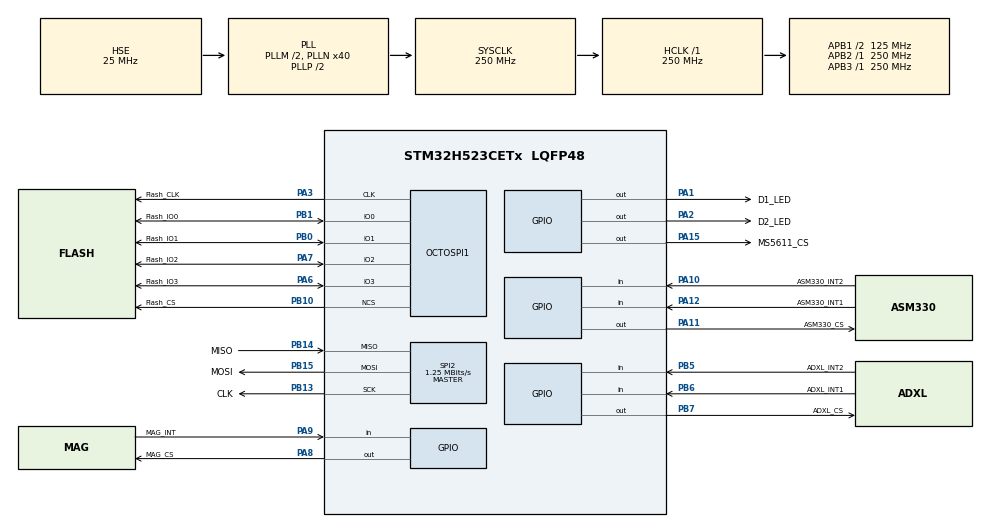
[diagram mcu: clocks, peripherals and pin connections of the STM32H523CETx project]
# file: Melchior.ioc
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BOOTPATH.BootPathName=LEGACY
BOOTPATH.UserSelectedBootPath=LEGACY
CORTEX_M33_NS.userName=CORTEX_M33
Mcu.Family=STM32H5
Mcu.Name=STM32H523CETx
Mcu.Package=LQFP48
NVIC.PriorityGroup=NVIC_PRIORITYGROUP_4
NVIC.TIM2_IRQn=true\:0\:0\:false\:false\:true\:true\:true\:true
OCTOSPI1.ChipSelectHighTimeCycle=8
OCTOSPI1.ClockPrescaler=16
OCTOSPI1.MemorySize=HAL_XSPI_SIZE_128MB
OCTOSPI1.SampleShifting=HAL_XSPI_SAMPLE_SHIFT_NONE
PA0.Signal=ADCx_INN1
PA1.GPIO_Label=D1_LED
PA1.Signal=GPIO_Output
PA10.GPIO_Label=ASM330_INT2
PA10.Signal=GPIO_Input
PA11.GPIO_Label=ASM330_CS
PA11.PinState=GPIO_PIN_SET
PA11.Signal=GPIO_Output
PA12.GPIO_Label=ASM330_INT1
PA12.Signal=GPIO_Input
PA13(JTMS/SWDIO).Mode=Trace_Asynchronous_SW
PA13(JTMS/SWDIO).Signal=DEBUG_JTMS-SWDIO
PA14(JTCK/SWCLK).Mode=Trace_Asynchronous_SW
PA14(JTCK/SWCLK).Signal=DEBUG_JTCK-SWCLK
PA15(JTDI).GPIO_Label=MS5611_CS
PA15(JTDI).PinState=GPIO_PIN_SET
PA15(JTDI).Signal=GPIO_Output
PA2.GPIO_Label=D2_LED
PA2.Signal=GPIO_Output
PA3.GPIO_Label=Flash_CLK
PA3.Mode=quad_mode
PA3.Signal=OCTOSPI1_CLK
PA6.GPIO_Label=Flash_IO3
PA6.Mode=OCTOSPI1_IO[3\:0]
PA6.Signal=OCTOSPI1_IO3
PA7.GPIO_Label=Flash_IO2
PA7.Mode=OCTOSPI1_IO[3\:0]
PA7.Signal=OCTOSPI1_IO2
PA8.GPIO_Label=MAG_CS
PA8.PinState=GPIO_PIN_SET
PA8.Signal=GPIO_Output
PA9.GPIO_Label=MAG_INT
PA9.Signal=GPIO_Input
PB0.GPIO_Label=Flash_IO1
PB0.Mode=OCTOSPI1_IO[3\:0]
PB0.Signal=OCTOSPI1_IO1
PB1.GPIO_Label=Flash_IO0
PB1.Mode=OCTOSPI1_IO[3\:0]
PB1.Signal=OCTOSPI1_IO0
PB10.GPIO_Label=Flash_CS
PB10.Mode=quad_mode
PB10.Signal=OCTOSPI1_NCS
PB13.GPIO_Label=CLK
PB13.Mode=Full_Duplex_Master
PB13.Signal=SPI2_SCK
PB14.GPIO_Label=MISO
PB14.Mode=Full_Duplex_Master
PB14.Signal=SPI2_MISO
PB15.GPIO_Label=MOSI
PB15.Mode=Full_Duplex_Master
PB15.Signal=SPI2_MOSI
PB3(JTDO/TRACESWO).Mode=Trace_Asynchronous_SW
PB3(JTDO/TRACESWO).Signal=DEBUG_JTDO-SWO
PB5.GPIO_Label=ADXL_INT2
PB5.Signal=GPIO_Input
PB6.GPIO_Label=ADXL_INT1
PB6.Signal=GPIO_Input
PB7.GPIO_Label=ADXL_CS
PB7.PinState=GPIO_PIN_SET
PB7.Signal=GPIO_Output
PC14-OSC32_IN(OSC32_IN).Mode=LSE-External-Oscillator
PC14-OSC32_IN(OSC32_IN).Signal=RCC_OSC32_IN
PC15-OSC32_OUT(OSC32_OUT).Mode=LSE-External-Oscillator
PC15-OSC32_OUT(OSC32_OUT).Signal=RCC_OSC32_OUT
PH0-OSC_IN(PH0).Mode=HSE-External-Oscillator
PH0-OSC_IN(PH0).Signal=RCC_OSC_IN
PH1-OSC_OUT(PH1).Mode=HSE-External-Oscillator
PH1-OSC_OUT(PH1).Signal=RCC_OSC_OUT
ProjectManager.HeapSize=0x200
ProjectManager.StackSize=0x400
ProjectManager.TargetToolchain=STM32CubeIDE
RCC.ADCFreq_Value=250000000
RCC.AHBFreq_Value=250000000
RCC.APB1CLKDivider=RCC_HCLK_DIV2
RCC.APB1Freq_Value=125000000
RCC.APB1TimFreq_Value=250000000
RCC.APB2Freq_Value=250000000
RCC.APB2TimFreq_Value=250000000
RCC.APB3Freq_Value=250000000
RCC.CSI_VALUE=4000000
RCC.CortexFreq_Value=250000000
RCC.EPOD_VALUE=25000000
RCC.HCLKFreq_Value=250000000
RCC.HSE_VALUE=25000000
RCC.HSI48_VALUE=48000000
RCC.HSI_VALUE=64000000
RCC.LSIRC_VALUE=32000
RCC.OCTOSPIMCLockSelection=RCC_OSPICLKSOURCE_PLL2R
RCC.PLL1Q=100
RCC.PLL2FRACN=0
RCC.PLL2R=8
RCC.PLL3FRACN=0
RCC.PLLFRACN=0
RCC.PLLM=2
RCC.PLLN=40
RCC.PLLSourceVirtual=RCC_PLL1_SOURCE_HSE
RCC.RTCClockSelection=RCC_RTCCLKSOURCE_LSE
RCC.SYSCLKFreq_VALUE=250000000
RCC.SYSCLKSource=RCC_SYSCLKSOURCE_PLLCLK
RCC.USBFreq_Value=48000000
RCC.VCOOutputFreq_Value=500000000
SH.ADCx_INN1.0=ADC1_INN1
SPI2.BaudRatePrescaler=SPI_BAUDRATEPRESCALER_4
SPI2.CLKPhase=SPI_PHASE_2EDGE
SPI2.CLKPolarity=SPI_POLARITY_HIGH
SPI2.CalculateBaudRate=1.25 MBits/s
SPI2.DataSize=SPI_DATASIZE_8BIT
SPI2.Direction=SPI_DIRECTION_2LINES
SPI2.Mode=SPI_MODE_MASTER
SPI2.VirtualType=VM_MASTER
TIM2.PeriodNoDither=4999
TIM2.Prescaler=24999
VP_BOOTPATH_VS_BOOTPATH.Mode=BP_Activate
VP_CORTEX_M33_NS_VS_Hclk.Mode=Hclk_Mode
VP_ICACHE_VS_ICACHE.Mode=DefaultMode
VP_MEMORYMAP_VS_MEMORYMAP.Mode=CurAppReg
VP_PWR_VS_LPOM.Mode=PowerOptimisation
VP_PWR_VS_SECSignals.Mode=Security/Privilege
VP_RTC_VS_RTC_Activate.Mode=RTC_Enabled
VP_RTC_VS_RTC_Calendar.Mode=RTC_Calendar
VP_TIM2_VS_ClockSourceINT.Mode=Internal
board=custom

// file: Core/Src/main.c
/* USER CODE BEGIN Header */
/**
  ******************************************************************************
  * @file           : main.c
  * @brief          : Main program body
  ******************************************************************************
  * @attention
  *
  * Copyright (c) 2026 STMicroelectronics.
  * All rights reserved.
  *
  * This software is licensed under terms that can be found in the LICENSE file
  * in the root directory of this software component.
  * If no LICENSE file comes with this software, it is provided AS-IS.
  *
  ******************************************************************************
  */
/* USER CODE END Header */
#include "main.h"

/* USER CODE BEGIN Includes */
#include <stdio.h>
#include <math.h>
#include "asm330lhhx.h"
#include "ms5611.h"
/* USER CODE END Includes */

/* USER CODE BEGIN PD */

/* Temporary mode selector: 0 = normal, 1 = flash capture, 2 = MMC5983 capture. */
static const unsigned int MODE = 0U;

#define ALPHA 0.05f /* Accelerometer correction weight per update. */
#define LOOP_PERIOD_MS 20U
#define BARO_PERIOD_MS 100U
#define MAX_ATTITUDE_DT_S 0.25f
#define TWO_PI_RAD 6.28318530718f
#define RAD_TO_DEG 57.2957795131f
#define MDPS_TO_RPS 0.0000174532925199f

/* USER CODE END PD */

XSPI_HandleTypeDef hxspi1;

RTC_HandleTypeDef hrtc;

SPI_HandleTypeDef hspi2;

TIM_HandleTypeDef htim2;

/* USER CODE BEGIN PV */
static ASM330LHHX_t asm330;
static const ASM330LHHX_Config_t asm330_config = {
		.accel_odr = ASM330LHHX_ODR_104,
		.accel_fs = ASM330LHHX_XL_FS_2G,
		.gyro_odr = ASM330LHHX_ODR_104,
		.gyro_fs = ASM330LHHX_G_FS_1000DPS,
		.spi_timeout_ms = 100U
};

static uint8_t asm330_ready = 0U;
static MS5611_t ms5611;
/* User-selectable settings; Init copies each configuration. */
static const MS5611_Config_t ms5611_config = {
    .pressure_osr = MS5611_OSR_4096,
    .temperature_osr = MS5611_OSR_4096,
    .spi_timeout_ms = 100U,
    .second_order_compensation = true
};

static uint32_t past_tick = 0U; /* Last IMU attempt; rate-limits failed reads too. */
static uint32_t attitude_tick = 0U; /* Last valid attitude sample. */
static bool attitude_initialized = false;
static float thetaHat_rad = 0.0f;
static float phiHat_rad = 0.0f;

/* USER CODE END PV */

void SystemClock_Config(void);
static void MX_GPIO_Init(void);
static void MX_OCTOSPI1_Init(void);
static void MX_SPI2_Init(void);
static void MX_RTC_Init(void);
static void MX_ICACHE_Init(void);
static void MX_TIM2_Init(void);

/* USER CODE BEGIN 0 */
int _write(int file, char *ptr, int len)
{
    (void)file;
    for (int i = 0; i < len; ++i) {
        ITM_SendChar(*ptr++);
    }
    return len;
}

/* Fixed-point printing retains two decimal places, including -0.xx,
   without enabling floating-point printf in newlib-nano. */
static void print_hundredths(int32_t value)
{
    unsigned long magnitude = (unsigned long)(value < 0 ? -(int64_t)value : value);
    printf("%s%lu.%02lu", value < 0 ? "-" : "", magnitude / 100UL, magnitude % 100UL);
}

/* Removable scope test: ONLY 9F + three response bytes, once per 500 ms.
   OCTOSPI controls CS. No reset, erase, writes, or sensor transactions. */
static void flash_id_capture_loop(void)
{
    XSPI_RegularCmdTypeDef cmd = {0};
    cmd.OperationType = HAL_XSPI_OPTYPE_COMMON_CFG;
    cmd.IOSelect = HAL_XSPI_SELECT_IO_3_0;
    cmd.Instruction = 0x9FU;
    cmd.InstructionMode = HAL_XSPI_INSTRUCTION_1_LINE;
    cmd.InstructionWidth = HAL_XSPI_INSTRUCTION_8_BITS;
    cmd.AddressMode = HAL_XSPI_ADDRESS_NONE;
    cmd.AlternateBytesMode = HAL_XSPI_ALT_BYTES_NONE;
    cmd.DataMode = HAL_XSPI_DATA_1_LINE;
    cmd.DataLength = 3U; // 32 clocks total: 8 command + 24 response.

    printf("Flash capture: repeating 9F every 500 ms; trigger on PB10/CS falling\r\n");
    for (;;) {
        HAL_Delay(500U);
        uint8_t id[3] = {0};
        HAL_StatusTypeDef status = HAL_XSPI_Command(&hxspi1, &cmd, 100U);
        if (status == HAL_OK) {
            status = HAL_XSPI_Receive(&hxspi1, id, 100U);
        }
        printf("Flash capture ID=%02X %02X %02X (expected EF 40 18), HAL=%u\r\n",
               (unsigned int)id[0], (unsigned int)id[1], (unsigned int)id[2],
               (unsigned int)status);
    }
}

/* Startup-only communication check: no program/erase or status writes.
   Recovery reset can interrupt an existing program/erase: do not call while
   logging to flash. This does not test storage integrity or quad IO. */
static bool flash_check(void)
{
    XSPI_RegularCmdTypeDef cmd = {0};
    uint8_t id[3] = {0}, alternate_id[2] = {0}, sr1 = 0U;
    bool jedec_ok = false;
    const char *step = "initial JEDEC ID";
    const char *phases[] = { "initial", "after wake", "after reset" };

    cmd.OperationType = HAL_XSPI_OPTYPE_COMMON_CFG;
    cmd.IOSelect = HAL_XSPI_SELECT_IO_3_0;
    cmd.InstructionMode = HAL_XSPI_INSTRUCTION_1_LINE;
    cmd.InstructionWidth = HAL_XSPI_INSTRUCTION_8_BITS;
    cmd.AddressMode = HAL_XSPI_ADDRESS_NONE;
    cmd.AlternateBytesMode = HAL_XSPI_ALT_BYTES_NONE;
    /* Zero initialization selects SDR, no dummy cycles, and no DQS. */

    for (unsigned int attempt = 0U; attempt < 3U; ++attempt) {
        if (attempt != 0U) {
            cmd.DataMode = HAL_XSPI_DATA_NONE; // Command only; CS released by HAL.
            cmd.DataLength = 1U; // Ignored when DataMode is NONE.
            if (attempt == 1U) {
                step = "release power-down (AB)";
                cmd.Instruction = 0xABU;
                if (HAL_XSPI_Command(&hxspi1, &cmd, 100U) != HAL_OK) goto transfer_failed;
                HAL_Delay(1U);
            } else {
                step = "enable reset (66)";
                cmd.Instruction = 0x66U;
                if (HAL_XSPI_Command(&hxspi1, &cmd, 100U) != HAL_OK) goto transfer_failed;
                HAL_Delay(1U); // Separate transactions, with CS high between them.
                step = "reset device (99)";
                cmd.Instruction = 0x99U;
                if (HAL_XSPI_Command(&hxspi1, &cmd, 100U) != HAL_OK) goto transfer_failed;
                HAL_Delay(1U);
            }
            printf("Flash recovery: %s sent\r\n", attempt == 1U ? "AB" : "66, 99");
        }

        step = phases[attempt];
        cmd.Instruction = 0x9FU;
        cmd.DataMode = HAL_XSPI_DATA_1_LINE;
        cmd.DataLength = sizeof(id);
        if (HAL_XSPI_Command(&hxspi1, &cmd, 100U) != HAL_OK ||
            HAL_XSPI_Receive(&hxspi1, id, 100U) != HAL_OK) goto transfer_failed;
        jedec_ok = id[0] == 0xEFU && id[1] == 0x40U && id[2] == 0x18U;
        printf("Flash JEDEC ID (%s): %02X %02X %02X (expected EF 40 18)\r\n",
               phases[attempt], (unsigned int)id[0], (unsigned int)id[1], (unsigned int)id[2]);
        if (jedec_ok) break; // Do not wake/reset a device already responding correctly.
    }

    step = "alternate ID (90)";
    cmd.Instruction = 0x90U;
    cmd.AddressMode = HAL_XSPI_ADDRESS_1_LINE;
    cmd.AddressWidth = HAL_XSPI_ADDRESS_24_BITS;
    cmd.Address = 0U;
    cmd.DataLength = sizeof(alternate_id);
    if (HAL_XSPI_Command(&hxspi1, &cmd, 100U) != HAL_OK ||
        HAL_XSPI_Receive(&hxspi1, alternate_id, 100U) != HAL_OK) goto transfer_failed;
    printf("Flash alternate ID: %02X %02X (expected EF 17)\r\n",
           (unsigned int)alternate_id[0], (unsigned int)alternate_id[1]);

    step = "status register (05)";
    cmd.Instruction = 0x05U;
    cmd.AddressMode = HAL_XSPI_ADDRESS_NONE;
    cmd.DataLength = 1U;
    if (HAL_XSPI_Command(&hxspi1, &cmd, 100U) != HAL_OK ||
        HAL_XSPI_Receive(&hxspi1, &sr1, 100U) != HAL_OK) goto transfer_failed;
    bool ok = jedec_ok && alternate_id[0] == 0xEFU && alternate_id[1] == 0x17U && !(sr1 & 1U);
    printf("Flash SR1=%02X BUSY=%u; communication check %s\r\n",
           (unsigned int)sr1, (unsigned int)(sr1 & 1U), ok ? "PASS" : "FAIL");
    return ok;

transfer_failed:
    printf("Flash check FAIL: transfer failed at %s, HAL error=0x%08lX\r\n",
           step, (unsigned long)HAL_XSPI_GetError(&hxspi1));
    return false;
}

/* Temporary MMC5983 connection probe: remove this function and its call later.
   Uses existing SPI2 settings (mode 0); datasheet timing describes mode 3.
   No reset, configuration writes, or measurement commands are issued. */
static bool mmc5983_check(void)
{
    uint8_t tx[2] = { 0xAFU, 0x00U }; // Read bit | product-ID register 0x2F.
    uint8_t rx[2] = { 0U, 0U };

    HAL_GPIO_WritePin(ADXL_CS_GPIO_Port, ADXL_CS_Pin, GPIO_PIN_SET);
    HAL_GPIO_WritePin(ASM330_CS_GPIO_Port, ASM330_CS_Pin, GPIO_PIN_SET);
    HAL_GPIO_WritePin(MS5611_CS_GPIO_Port, MS5611_CS_Pin, GPIO_PIN_SET);
    HAL_GPIO_WritePin(MAG_CS_GPIO_Port, MAG_CS_Pin, GPIO_PIN_RESET);
    HAL_StatusTypeDef status = HAL_SPI_TransmitReceive(&hspi2, tx, rx, 2U, 100U);
    HAL_GPIO_WritePin(MAG_CS_GPIO_Port, MAG_CS_Pin, GPIO_PIN_SET);

    bool ok = status == HAL_OK && rx[1] == 0x30U;
    printf("MMC5983 ID=%02X (expected 30), RX=%02X %02X, HAL=%u: %s\r\n",
           (unsigned int)rx[1], (unsigned int)rx[0], (unsigned int)rx[1],
           (unsigned int)status, ok ? "PASS" : "FAIL");
    return ok;
}

/* Removable scope test: ONLY product-ID reads, once per 500 ms.
   Uses the existing SPI2 settings; all other shared-bus CS pins stay high. */
static void mmc5983_id_capture_loop(void)
{
    printf("MMC5983 capture: repeating AF 00 every 500 ms; trigger on MAG_CS falling\r\n");
    for (;;) {
        HAL_Delay(500U);
        (void)mmc5983_check();
    }
}

/* USER CODE END 0 */

int main(void)
{

  /* MCU Configuration--------------------------------------------------------*/

  /* Reset of all peripherals, Initializes the Flash interface and the Systick. */
  HAL_Init();

  /* Configure the system clock */
  SystemClock_Config();

  /* Initialize all configured peripherals */
  MX_GPIO_Init();
  MX_OCTOSPI1_Init();
  MX_SPI2_Init();
  MX_RTC_Init();
  MX_ICACHE_Init();
  MX_TIM2_Init();
  /* USER CODE BEGIN 2 */

  /* Keep all other devices off the shared SPI bus. */
  HAL_GPIO_WritePin(ADXL_CS_GPIO_Port, ADXL_CS_Pin, GPIO_PIN_SET);
  HAL_GPIO_WritePin(MS5611_CS_GPIO_Port, MS5611_CS_Pin, GPIO_PIN_SET);
  HAL_GPIO_WritePin(MAG_CS_GPIO_Port, MAG_CS_Pin, GPIO_PIN_SET);
  ASM330LHHX_AssignSPI(&asm330, &hspi2, ASM330_CS_GPIO_Port, ASM330_CS_Pin);
  HAL_Delay(20U); // Allow sensor power-on reset to complete.
  setvbuf(stdout, NULL, _IONBF, 0); // Send printf output directly to ITM port 0.
  if (MODE == 1U) {
    flash_id_capture_loop(); // Does not return: isolates flash ID traffic.
  } else if (MODE == 2U) {
    mmc5983_id_capture_loop(); // Does not return: isolates MMC5983 ID traffic.
  }
  (void)flash_check();
  (void)mmc5983_check(); // Temporary connection probe.

  uint8_t asm_id = 0U;
  HAL_StatusTypeDef asm_status = ASM330LHHX_ReadDeviceID(&asm330, &asm_id);
  if ((asm_status == HAL_OK) && (asm_id == ASM330LHHX_WHO_AM_I_VALUE)) {
    HAL_StatusTypeDef asm_init_status = ASM330LHHX_Init(&asm330, &asm330_config);
    if (asm_init_status == HAL_OK) {
      asm330_ready = 1U;
      printf("ASM330LHHX initialized\r\n");
    } else {
      printf("ASM330LHHX initialization failed, HAL status: %u\r\n",
             (unsigned int)asm_status);
    }
  } else {
    printf("ASM330LHHX not detected; check wiring and SPI configuration.\r\n");
  }

  MS5611_AssignSPI(&ms5611, &hspi2, MS5611_CS_GPIO_Port, MS5611_CS_Pin);
  MS5611_Status_t ms_status = MS5611_Init(&ms5611, &ms5611_config);
  if (ms_status == MS5611_OK) {
    printf("MS5611 initialized\r\n");
  } else {
    printf("MS5611 init failed: status=%u, HAL=%u (check PS low, CS and wiring)\r\n",
           (unsigned int)ms_status, (unsigned int)ms5611.last_hal_status);
  }

  printf("time_ms,roll_deg,pitch_deg\r\n");

  /* USER CODE END 2 */

  /* Infinite loop */
  /* USER CODE BEGIN WHILE */
  while (1)
  {

    if (asm330_ready && ((HAL_GetTick() - past_tick) >= LOOP_PERIOD_MS)) {
      past_tick = HAL_GetTick();
      ASM330LHHX_FloatData_t accel, gyro;
      HAL_StatusTypeDef accel_status = ASM330LHHX_ReadAccelMg(&asm330, &accel);
      HAL_StatusTypeDef gyro_status = ASM330LHHX_ReadGyroMdps(&asm330, &gyro);
      if (accel_status == HAL_OK && gyro_status == HAL_OK) {
        /* Application axis remap: X <- sensor Y, Y <- sensor X; Z unchanged.
           This literal swap is a reflection, not a right-handed mounting rotation. */
        // float sensor_accel_x = accel.x;
        // accel.x = accel.y;
        // accel.y = sensor_accel_x;
        // float sensor_gyro_x = gyro.x;
        // gyro.x = gyro.y;
        // gyro.y = sensor_gyro_x;

        uint32_t now = HAL_GetTick();
        float dt = (now - attitude_tick) * 0.001f;
        float accel_norm_sq = accel.x * accel.x + accel.y * accel.y + accel.z * accel.z;

        /* Convention: level = +Z gravity reading; roll about X, pitch about Y.
           Remap BOTH accel and gyro together if the mounting differs.
           Ratios use mg directly; reject zero/non-finite samples. */
        if (isfinite(accel_norm_sq) && accel_norm_sq > 1.0f &&
            isfinite(gyro.x) && isfinite(gyro.y) && isfinite(gyro.z)) {
          float phiHat_acc_rad = atan2f(accel.y, accel.z);
          float thetaHat_acc_rad =
              atan2f(-accel.x, sqrtf(accel.y * accel.y + accel.z * accel.z));

          if (!attitude_initialized || dt > MAX_ATTITUDE_DT_S ||
              fabsf(cosf(thetaHat_rad)) < 0.05f) {
            /* Seed at startup/after a long gap. Near pitch +/-90 degrees,
               fall back to accelerometer tilt rather than singular gyro rates.
               This is not a valid full-attitude solution near the singularity. */
            phiHat_rad = phiHat_acc_rad;
            thetaHat_rad = thetaHat_acc_rad;
            attitude_initialized = true;
          } else {
            float p_rps = gyro.x * MDPS_TO_RPS;
            float q_rps = gyro.y * MDPS_TO_RPS;
            float r_rps = gyro.z * MDPS_TO_RPS;
            float sin_phi = sinf(phiHat_rad);
            float cos_phi = cosf(phiHat_rad);

            /* Both derivatives use the previous estimate. */
            float phi_dot = p_rps + tanf(thetaHat_rad) *
                (q_rps * sin_phi + r_rps * cos_phi);
            float theta_dot = q_rps * cos_phi - r_rps * sin_phi;
            float phi_pred = phiHat_rad + phi_dot * dt;
            float theta_pred = thetaHat_rad + theta_dot * dt;

            /* Shortest angular correction avoids averaging +pi and -pi to 0. */
            phiHat_rad = remainderf(phi_pred + ALPHA *
                remainderf(phiHat_acc_rad - phi_pred, TWO_PI_RAD), TWO_PI_RAD);
            thetaHat_rad = (1.0f - ALPHA) * theta_pred + ALPHA * thetaHat_acc_rad;
          }
          attitude_tick = now;

          /* CSV via the existing printf -> ITM/SWV output, without float printf. */
          printf("%lu,", (unsigned long)now);
          print_hundredths((int32_t)lroundf(phiHat_rad * RAD_TO_DEG * 100.0f));
          printf(",");
          print_hundredths((int32_t)lroundf(thetaHat_rad * RAD_TO_DEG * 100.0f));
          printf("\r\n");
        }
      } else {
        printf("IMU Read Fail: Accel HAL=%u, Gyro HAL=%u\r\n", (unsigned int)accel_status, (unsigned int)gyro_status);
      }
    }
    /*
    if (ms5611.initialized && ((HAL_GetTick() - baro_tick) >= BARO_PERIOD_MS)) {
      baro_tick = HAL_GetTick();
      MS5611_Data_t data;
      MS5611_Status_t status = MS5611_Read(&ms5611, &data);
      if (status == MS5611_OK) {
        printf("MS5611 pressure: ");
        print_hundredths(data.pressure_centi_mbar);
        printf(" mbar, temperature: ");
        print_hundredths(data.temperature_centi_c);
        printf(" C\r\n");
      } else {
        printf("MS5611 read failed: status=%u HAL=%u\r\n",
               (unsigned int)status, (unsigned int)ms5611.last_hal_status);
      }
    }
    */

    /* USER CODE END WHILE */

  }
}

void SystemClock_Config(void)
{
  RCC_OscInitTypeDef RCC_OscInitStruct = {0};
  RCC_ClkInitTypeDef RCC_ClkInitStruct = {0};

  /** Configure the main internal regulator output voltage
  */
  __HAL_PWR_VOLTAGESCALING_CONFIG(PWR_REGULATOR_VOLTAGE_SCALE0);

  while(!__HAL_PWR_GET_FLAG(PWR_FLAG_VOSRDY)) {}

  /** Configure LSE Drive Capability
  *  Warning : Only applied when the LSE is disabled.
  */
  HAL_PWR_EnableBkUpAccess();
  __HAL_RCC_LSEDRIVE_CONFIG(RCC_LSEDRIVE_LOW);

  /** Initializes the RCC Oscillators according to the specified parameters
  * in the RCC_OscInitTypeDef structure.
  */
  RCC_OscInitStruct.OscillatorType = RCC_OSCILLATORTYPE_HSE|RCC_OSCILLATORTYPE_LSE
                              |RCC_OSCILLATORTYPE_CSI;
  RCC_OscInitStruct.HSEState = RCC_HSE_ON;
  RCC_OscInitStruct.LSEState = RCC_LSE_ON;
  RCC_OscInitStruct.CSIState = RCC_CSI_ON;
  RCC_OscInitStruct.CSICalibrationValue = RCC_CSICALIBRATION_DEFAULT;
  RCC_OscInitStruct.PLL.PLLState = RCC_PLL_ON;
  RCC_OscInitStruct.PLL.PLLSource = RCC_PLL1_SOURCE_HSE;
  RCC_OscInitStruct.PLL.PLLM = 2;
  RCC_OscInitStruct.PLL.PLLN = 40;
  RCC_OscInitStruct.PLL.PLLP = 2;
  RCC_OscInitStruct.PLL.PLLQ = 100;
  RCC_OscInitStruct.PLL.PLLR = 2;
  RCC_OscInitStruct.PLL.PLLRGE = RCC_PLL1_VCIRANGE_3;
  RCC_OscInitStruct.PLL.PLLVCOSEL = RCC_PLL1_VCORANGE_WIDE;
  RCC_OscInitStruct.PLL.PLLFRACN = 0;
  if (HAL_RCC_OscConfig(&RCC_OscInitStruct) != HAL_OK)
  {
    Error_Handler();
  }

  /** Initializes the CPU, AHB and APB buses clocks
  */
  RCC_ClkInitStruct.ClockType = RCC_CLOCKTYPE_HCLK|RCC_CLOCKTYPE_SYSCLK
                              |RCC_CLOCKTYPE_PCLK1|RCC_CLOCKTYPE_PCLK2
                              |RCC_CLOCKTYPE_PCLK3;
  RCC_ClkInitStruct.SYSCLKSource = RCC_SYSCLKSOURCE_PLLCLK;
  RCC_ClkInitStruct.AHBCLKDivider = RCC_SYSCLK_DIV1;
  RCC_ClkInitStruct.APB1CLKDivider = RCC_HCLK_DIV2;
  RCC_ClkInitStruct.APB2CLKDivider = RCC_HCLK_DIV1;
  RCC_ClkInitStruct.APB3CLKDivider = RCC_HCLK_DIV1;

  if (HAL_RCC_ClockConfig(&RCC_ClkInitStruct, FLASH_LATENCY_5) != HAL_OK)
  {
    Error_Handler();
  }

  /** Configure the programming delay
  */
  __HAL_FLASH_SET_PROGRAM_DELAY(FLASH_PROGRAMMING_DELAY_2);
}

static void MX_ICACHE_Init(void)
{

  /** Enable instruction cache (default 2-ways set associative cache)
  */
  if (HAL_ICACHE_Enable() != HAL_OK)
  {
    Error_Handler();
  }

}

static void MX_OCTOSPI1_Init(void)
{

  /* OCTOSPI1 parameter configuration*/
  hxspi1.Instance = OCTOSPI1;
  hxspi1.Init.FifoThresholdByte = 1;
  hxspi1.Init.MemoryMode = HAL_XSPI_SINGLE_MEM;
  hxspi1.Init.MemoryType = HAL_XSPI_MEMTYPE_MICRON;
  hxspi1.Init.MemorySize = HAL_XSPI_SIZE_128MB;
  hxspi1.Init.ChipSelectHighTimeCycle = 8;
  hxspi1.Init.FreeRunningClock = HAL_XSPI_FREERUNCLK_DISABLE;
  hxspi1.Init.ClockMode = HAL_XSPI_CLOCK_MODE_0;
  hxspi1.Init.WrapSize = HAL_XSPI_WRAP_NOT_SUPPORTED;
  hxspi1.Init.ClockPrescaler = 16;
  hxspi1.Init.SampleShifting = HAL_XSPI_SAMPLE_SHIFT_NONE;
  hxspi1.Init.DelayHoldQuarterCycle = HAL_XSPI_DHQC_DISABLE;
  hxspi1.Init.ChipSelectBoundary = HAL_XSPI_BONDARYOF_NONE;
  hxspi1.Init.DelayBlockBypass = HAL_XSPI_DELAY_BLOCK_BYPASS;
  hxspi1.Init.Refresh = 0;
  if (HAL_XSPI_Init(&hxspi1) != HAL_OK)
  {
    Error_Handler();
  }

}

static void MX_RTC_Init(void)
{

  RTC_PrivilegeStateTypeDef privilegeState = {0};
  RTC_TimeTypeDef sTime = {0};
  RTC_DateTypeDef sDate = {0};

  /** Initialize RTC Only
  */
  hrtc.Instance = RTC;
  hrtc.Init.HourFormat = RTC_HOURFORMAT_24;
  hrtc.Init.AsynchPrediv = 127;
  hrtc.Init.SynchPrediv = 255;
  hrtc.Init.OutPut = RTC_OUTPUT_DISABLE;
  hrtc.Init.OutPutRemap = RTC_OUTPUT_REMAP_NONE;
  hrtc.Init.OutPutPolarity = RTC_OUTPUT_POLARITY_HIGH;
  hrtc.Init.OutPutType = RTC_OUTPUT_TYPE_OPENDRAIN;
  hrtc.Init.OutPutPullUp = RTC_OUTPUT_PULLUP_NONE;
  hrtc.Init.BinMode = RTC_BINARY_NONE;
  if (HAL_RTC_Init(&hrtc) != HAL_OK)
  {
    Error_Handler();
  }
  privilegeState.rtcPrivilegeFull = RTC_PRIVILEGE_FULL_NO;
  privilegeState.backupRegisterPrivZone = RTC_PRIVILEGE_BKUP_ZONE_NONE;
  privilegeState.backupRegisterStartZone2 = RTC_BKP_DR0;
  privilegeState.backupRegisterStartZone3 = RTC_BKP_DR0;
  if (HAL_RTCEx_PrivilegeModeSet(&hrtc, &privilegeState) != HAL_OK)
  {
    Error_Handler();
  }

  /** Initialize RTC and set the Time and Date
  */
  sTime.Hours = 0x0;
  sTime.Minutes = 0x0;
  sTime.Seconds = 0x0;
  sTime.DayLightSaving = RTC_DAYLIGHTSAVING_NONE;
  sTime.StoreOperation = RTC_STOREOPERATION_RESET;
  if (HAL_RTC_SetTime(&hrtc, &sTime, RTC_FORMAT_BCD) != HAL_OK)
  {
    Error_Handler();
  }
  sDate.WeekDay = RTC_WEEKDAY_MONDAY;
  sDate.Month = RTC_MONTH_JANUARY;
  sDate.Date = 0x1;
  sDate.Year = 0x0;

  if (HAL_RTC_SetDate(&hrtc, &sDate, RTC_FORMAT_BCD) != HAL_OK)
  {
    Error_Handler();
  }

}

static void MX_SPI2_Init(void)
{

  /* SPI2 parameter configuration*/
  hspi2.Instance = SPI2;
  hspi2.Init.Mode = SPI_MODE_MASTER;
  hspi2.Init.Direction = SPI_DIRECTION_2LINES;
  hspi2.Init.DataSize = SPI_DATASIZE_8BIT;
  hspi2.Init.CLKPolarity = SPI_POLARITY_HIGH;
  hspi2.Init.CLKPhase = SPI_PHASE_2EDGE;
  hspi2.Init.NSS = SPI_NSS_SOFT;
  hspi2.Init.BaudRatePrescaler = SPI_BAUDRATEPRESCALER_4;
  hspi2.Init.FirstBit = SPI_FIRSTBIT_MSB;
  hspi2.Init.TIMode = SPI_TIMODE_DISABLE;
  hspi2.Init.CRCCalculation = SPI_CRCCALCULATION_DISABLE;
  hspi2.Init.CRCPolynomial = 0x7;
  hspi2.Init.NSSPMode = SPI_NSS_PULSE_DISABLE;
  hspi2.Init.NSSPolarity = SPI_NSS_POLARITY_LOW;
  hspi2.Init.FifoThreshold = SPI_FIFO_THRESHOLD_01DATA;
  hspi2.Init.MasterSSIdleness = SPI_MASTER_SS_IDLENESS_00CYCLE;
  hspi2.Init.MasterInterDataIdleness = SPI_MASTER_INTERDATA_IDLENESS_00CYCLE;
  hspi2.Init.MasterReceiverAutoSusp = SPI_MASTER_RX_AUTOSUSP_DISABLE;
  hspi2.Init.MasterKeepIOState = SPI_MASTER_KEEP_IO_STATE_DISABLE;
  hspi2.Init.IOSwap = SPI_IO_SWAP_DISABLE;
  hspi2.Init.ReadyMasterManagement = SPI_RDY_MASTER_MANAGEMENT_INTERNALLY;
  hspi2.Init.ReadyPolarity = SPI_RDY_POLARITY_HIGH;
  if (HAL_SPI_Init(&hspi2) != HAL_OK)
  {
    Error_Handler();
  }

}

static void MX_TIM2_Init(void)
{

  TIM_ClockConfigTypeDef sClockSourceConfig = {0};
  TIM_MasterConfigTypeDef sMasterConfig = {0};

  htim2.Instance = TIM2;
  htim2.Init.Prescaler = 24999;
  htim2.Init.CounterMode = TIM_COUNTERMODE_UP;
  htim2.Init.Period = 4999;
  htim2.Init.ClockDivision = TIM_CLOCKDIVISION_DIV1;
  htim2.Init.AutoReloadPreload = TIM_AUTORELOAD_PRELOAD_DISABLE;
  if (HAL_TIM_Base_Init(&htim2) != HAL_OK)
  {
    Error_Handler();
  }
  sClockSourceConfig.ClockSource = TIM_CLOCKSOURCE_INTERNAL;
  if (HAL_TIM_ConfigClockSource(&htim2, &sClockSourceConfig) != HAL_OK)
  {
    Error_Handler();
  }
  sMasterConfig.MasterOutputTrigger = TIM_TRGO_RESET;
  sMasterConfig.MasterSlaveMode = TIM_MASTERSLAVEMODE_DISABLE;
  if (HAL_TIMEx_MasterConfigSynchronization(&htim2, &sMasterConfig) != HAL_OK)
  {
    Error_Handler();
  }

}

static void MX_GPIO_Init(void)
{
  GPIO_InitTypeDef GPIO_InitStruct = {0};

  /* GPIO Ports Clock Enable */
  __HAL_RCC_GPIOC_CLK_ENABLE();
  __HAL_RCC_GPIOH_CLK_ENABLE();
  __HAL_RCC_GPIOA_CLK_ENABLE();
  __HAL_RCC_GPIOB_CLK_ENABLE();

  /*Configure GPIO pin Output Level */
  HAL_GPIO_WritePin(GPIOA, D1_LED_Pin|D2_LED_Pin, GPIO_PIN_RESET);

  /*Configure GPIO pin Output Level */
  HAL_GPIO_WritePin(GPIOA, MAG_CS_Pin|ASM330_CS_Pin|MS5611_CS_Pin, GPIO_PIN_SET);

  /*Configure GPIO pin Output Level */
  HAL_GPIO_WritePin(ADXL_CS_GPIO_Port, ADXL_CS_Pin, GPIO_PIN_SET);

  /*Configure GPIO pin : PA0 */
  GPIO_InitStruct.Pin = GPIO_PIN_0;
  GPIO_InitStruct.Mode = GPIO_MODE_ANALOG;
  GPIO_InitStruct.Pull = GPIO_NOPULL;
  HAL_GPIO_Init(GPIOA, &GPIO_InitStruct);

  /*Configure GPIO pins : D1_LED_Pin D2_LED_Pin MAG_CS_Pin ASM330_CS_Pin
                           MS5611_CS_Pin */
  GPIO_InitStruct.Pin = D1_LED_Pin|D2_LED_Pin|MAG_CS_Pin|ASM330_CS_Pin
                          |MS5611_CS_Pin;
  GPIO_InitStruct.Mode = GPIO_MODE_OUTPUT_PP;
  GPIO_InitStruct.Pull = GPIO_NOPULL;
  GPIO_InitStruct.Speed = GPIO_SPEED_FREQ_LOW;
  HAL_GPIO_Init(GPIOA, &GPIO_InitStruct);

  /*Configure GPIO pins : MAG_INT_Pin ASM330_INT2_Pin ASM330_INT1_Pin */
  GPIO_InitStruct.Pin = MAG_INT_Pin|ASM330_INT2_Pin|ASM330_INT1_Pin;
  GPIO_InitStruct.Mode = GPIO_MODE_INPUT;
  GPIO_InitStruct.Pull = GPIO_NOPULL;
  HAL_GPIO_Init(GPIOA, &GPIO_InitStruct);

  /*Configure GPIO pins : ADXL_INT2_Pin ADXL_INT1_Pin */
  GPIO_InitStruct.Pin = ADXL_INT2_Pin|ADXL_INT1_Pin;
  GPIO_InitStruct.Mode = GPIO_MODE_INPUT;
  GPIO_InitStruct.Pull = GPIO_NOPULL;
  HAL_GPIO_Init(GPIOB, &GPIO_InitStruct);

  /*Configure GPIO pin : ADXL_CS_Pin */
  GPIO_InitStruct.Pin = ADXL_CS_Pin;
  GPIO_InitStruct.Mode = GPIO_MODE_OUTPUT_PP;
  GPIO_InitStruct.Pull = GPIO_NOPULL;
  GPIO_InitStruct.Speed = GPIO_SPEED_FREQ_LOW;
  HAL_GPIO_Init(ADXL_CS_GPIO_Port, &GPIO_InitStruct);

}

void Error_Handler(void)
{
  __disable_irq();
  while (1)
  {
  }
}
